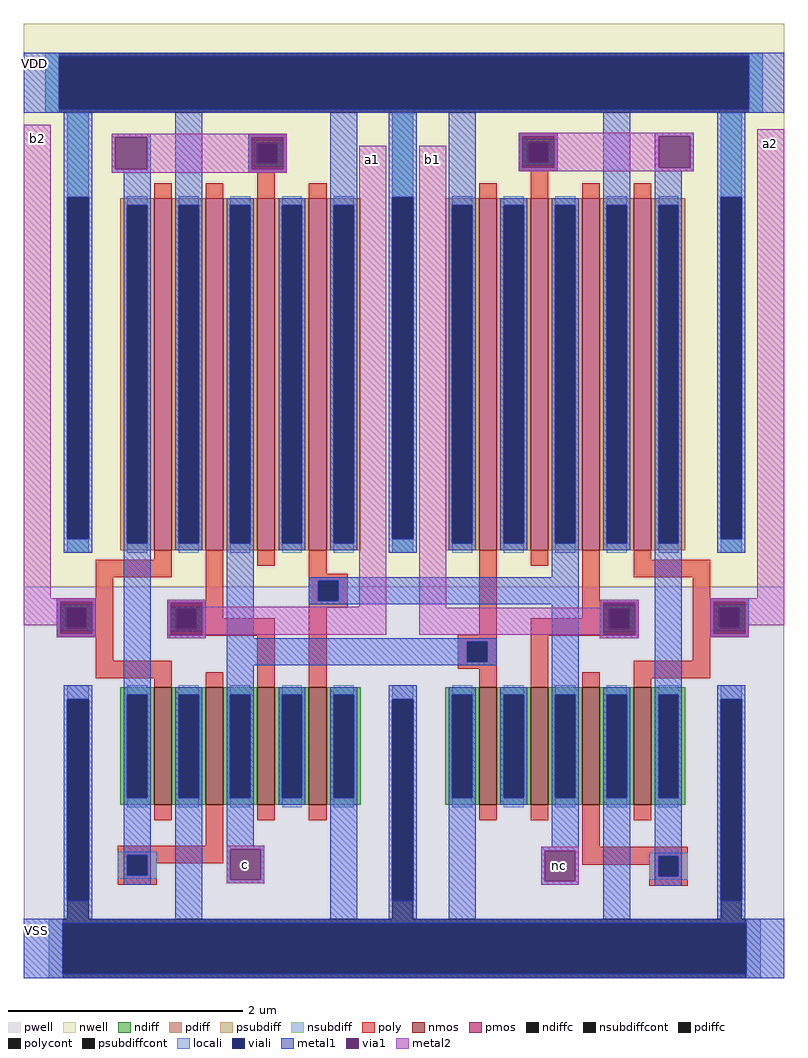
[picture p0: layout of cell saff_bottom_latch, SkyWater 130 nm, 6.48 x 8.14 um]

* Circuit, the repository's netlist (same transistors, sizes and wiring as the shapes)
** sch_path: /home/ttuser/Documents/tt09-analog-tdc/xschem/saff_bottom_latch.sch
.subckt saff_bottom_latch a1 a2 b1 b2 c nc VDD VSS
*.PININFO VDD:B a1:I c:O VSS:B b2:I nc:O a2:I b1:I
XM2 net5 c VSS VSS sky130_fd_pr__nfet_01v8 L=0.15 W=1 nf=1 m=1
XM12 net2 a2 VDD VDD sky130_fd_pr__pfet_01v8 L=0.15 W=3 nf=1 m=1
XM13 net2 a2 VSS VSS sky130_fd_pr__nfet_01v8 L=0.15 W=1 nf=1 m=1
XM14 net1 b2 VDD VDD sky130_fd_pr__pfet_01v8 L=0.15 W=3 nf=1 m=1
XM15 net1 b2 VSS VSS sky130_fd_pr__nfet_01v8 L=0.15 W=1 nf=1 m=1
XM16 c a1 VDD VDD sky130_fd_pr__pfet_01v8 L=0.15 W=3 nf=1 m=1
XM17 c net1 VSS VSS sky130_fd_pr__nfet_01v8 L=0.15 W=1 nf=1 m=1
XM18 nc b1 VDD VDD sky130_fd_pr__pfet_01v8 L=0.15 W=3 nf=1 m=1
XM19 nc net2 VSS VSS sky130_fd_pr__nfet_01v8 L=0.15 W=1 nf=1 m=1
XM20 net4 c VDD VDD sky130_fd_pr__pfet_01v8 L=0.15 W=3 nf=1 m=1
XM21 nc net2 net4 VDD sky130_fd_pr__pfet_01v8 L=0.15 W=3 nf=1 m=1
XM22 c net1 net3 VDD sky130_fd_pr__pfet_01v8 L=0.15 W=3 nf=1 m=1
XM23 net3 nc VDD VDD sky130_fd_pr__pfet_01v8 L=0.15 W=3 nf=1 m=1
XM24 c a1 net6 VSS sky130_fd_pr__nfet_01v8 L=0.15 W=1 nf=1 m=1
XM25 nc b1 net5 VSS sky130_fd_pr__nfet_01v8 L=0.15 W=1 nf=1 m=1
XM26 net6 nc VSS VSS sky130_fd_pr__nfet_01v8 L=0.15 W=1 nf=1 m=1
.ends
.end

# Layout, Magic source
magic
tech sky130A
magscale 1 2
<< nwell >>
rect 5844 -388 7140 -152
rect 5844 -1112 5990 -388
rect 6442 -1112 6660 -388
rect 6996 -1112 7140 -388
<< pwell >>
rect 5844 -1780 7140 -1112
<< psubdiff >>
rect 5918 -1304 5954 -1280
rect 6472 -1304 6508 -1280
rect 7032 -1304 7068 -1280
rect 5886 -1780 5910 -1678
rect 7076 -1780 7100 -1678
<< nsubdiff >>
rect 5880 -304 5904 -202
rect 7080 -304 7104 -202
rect 5918 -448 5954 -304
rect 5918 -1054 5954 -1030
rect 6472 -448 6508 -304
rect 6472 -1054 6508 -1030
rect 7032 -448 7068 -304
rect 7032 -1054 7068 -1030
<< psubdiffcont >>
rect 5918 -1678 5954 -1304
rect 6472 -1678 6508 -1304
rect 7032 -1678 7068 -1304
rect 5910 -1780 7076 -1678
<< nsubdiffcont >>
rect 5904 -304 7080 -202
rect 5918 -1030 5954 -448
rect 6472 -1030 6508 -448
rect 7032 -1030 7068 -448
<< poly >>
rect 6226 -356 6292 -340
rect 6226 -390 6242 -356
rect 6276 -390 6292 -356
rect 6226 -406 6292 -390
rect 6242 -426 6272 -406
rect 6688 -354 6754 -338
rect 6688 -388 6704 -354
rect 6738 -388 6754 -354
rect 6688 -404 6754 -388
rect 6708 -424 6738 -404
rect 5966 -1096 6096 -1066
rect 5966 -1132 5996 -1096
rect 5900 -1148 5996 -1132
rect 6154 -1138 6184 -1076
rect 5900 -1182 5916 -1148
rect 5950 -1182 5996 -1148
rect 5900 -1198 5996 -1182
rect 6088 -1150 6184 -1138
rect 6088 -1184 6104 -1150
rect 6138 -1166 6184 -1150
rect 6330 -1090 6360 -1076
rect 6330 -1102 6396 -1090
rect 6330 -1136 6346 -1102
rect 6380 -1136 6396 -1102
rect 6330 -1148 6396 -1136
rect 6138 -1184 6272 -1166
rect 6088 -1196 6272 -1184
rect 5966 -1238 5996 -1198
rect 5966 -1268 6096 -1238
rect 6242 -1258 6272 -1196
rect 6330 -1258 6360 -1148
rect 6620 -1194 6650 -1076
rect 6796 -1138 6826 -1076
rect 6884 -1096 7014 -1066
rect 6984 -1132 7014 -1096
rect 6796 -1150 6892 -1138
rect 6796 -1166 6842 -1150
rect 6584 -1206 6650 -1194
rect 6584 -1240 6600 -1206
rect 6634 -1240 6650 -1206
rect 6584 -1252 6650 -1240
rect 6620 -1260 6650 -1252
rect 6708 -1184 6842 -1166
rect 6876 -1184 6892 -1150
rect 6708 -1196 6892 -1184
rect 6984 -1148 7080 -1132
rect 6984 -1182 7030 -1148
rect 7064 -1182 7080 -1148
rect 6708 -1258 6738 -1196
rect 6984 -1198 7080 -1182
rect 6984 -1238 7014 -1198
rect 6884 -1268 7014 -1238
rect 6154 -1554 6184 -1508
rect 6004 -1570 6184 -1554
rect 6004 -1604 6020 -1570
rect 6054 -1584 6184 -1570
rect 6054 -1604 6070 -1584
rect 6004 -1620 6070 -1604
rect 6796 -1556 6826 -1510
rect 6796 -1572 6976 -1556
rect 6796 -1586 6926 -1572
rect 6910 -1606 6926 -1586
rect 6960 -1606 6976 -1572
rect 6910 -1622 6976 -1606
<< polycont >>
rect 6242 -390 6276 -356
rect 6704 -388 6738 -354
rect 5916 -1182 5950 -1148
rect 6104 -1184 6138 -1150
rect 6346 -1136 6380 -1102
rect 6600 -1240 6634 -1206
rect 6842 -1184 6876 -1150
rect 7030 -1182 7064 -1148
rect 6020 -1604 6054 -1570
rect 6926 -1606 6960 -1572
<< locali >>
rect 5880 -304 5904 -202
rect 7080 -304 7104 -202
rect 5918 -448 5954 -304
rect 6226 -356 6292 -350
rect 6226 -390 6242 -356
rect 6276 -390 6292 -356
rect 6226 -396 6292 -390
rect 5918 -1054 5954 -1030
rect 6472 -448 6508 -304
rect 6688 -354 6754 -348
rect 6688 -388 6704 -354
rect 6738 -388 6754 -354
rect 6688 -394 6754 -388
rect 6472 -1054 6508 -1030
rect 7032 -448 7068 -304
rect 7032 -1054 7068 -1030
rect 6330 -1102 6396 -1096
rect 6330 -1136 6346 -1102
rect 6380 -1136 6396 -1102
rect 6330 -1142 6396 -1136
rect 5900 -1148 5966 -1142
rect 5900 -1182 5916 -1148
rect 5950 -1182 5966 -1148
rect 5900 -1188 5966 -1182
rect 6088 -1150 6154 -1146
rect 6088 -1184 6104 -1150
rect 6138 -1184 6154 -1150
rect 6088 -1188 6154 -1184
rect 6826 -1150 6892 -1144
rect 6826 -1184 6842 -1150
rect 6876 -1184 6892 -1150
rect 6826 -1190 6892 -1184
rect 7014 -1148 7080 -1142
rect 7014 -1182 7030 -1148
rect 7064 -1182 7080 -1148
rect 7014 -1188 7080 -1182
rect 6584 -1206 6650 -1200
rect 6584 -1240 6600 -1206
rect 6634 -1240 6650 -1206
rect 6584 -1246 6650 -1240
rect 5918 -1304 5954 -1280
rect 6472 -1304 6508 -1280
rect 6004 -1570 6070 -1564
rect 6004 -1604 6020 -1570
rect 6054 -1604 6070 -1570
rect 6004 -1610 6070 -1604
rect 7032 -1304 7068 -1280
rect 6910 -1572 6976 -1566
rect 6910 -1606 6926 -1572
rect 6960 -1606 6976 -1572
rect 6910 -1612 6976 -1606
rect 5886 -1780 5910 -1678
rect 7076 -1780 7100 -1678
<< viali >>
rect 5904 -298 7080 -208
rect 6242 -390 6276 -356
rect 5918 -1030 5954 -448
rect 6704 -388 6738 -354
rect 6472 -1030 6508 -448
rect 7032 -1030 7068 -448
rect 6346 -1136 6380 -1102
rect 5916 -1182 5950 -1148
rect 6104 -1184 6138 -1150
rect 6842 -1184 6876 -1150
rect 7030 -1182 7064 -1148
rect 6600 -1240 6634 -1206
rect 5918 -1648 5954 -1304
rect 6020 -1604 6054 -1570
rect 6472 -1648 6508 -1304
rect 6926 -1606 6960 -1572
rect 7032 -1648 7068 -1304
rect 5910 -1772 7076 -1686
<< metal1 >>
rect 5844 -208 7140 -202
rect 5844 -298 5904 -208
rect 7080 -298 7140 -208
rect 5844 -304 7140 -298
rect 5912 -448 5960 -304
rect 5994 -346 6060 -340
rect 5994 -400 6000 -346
rect 6054 -400 6060 -346
rect 5994 -406 6060 -400
rect 5912 -1030 5918 -448
rect 5954 -1030 5960 -448
rect 6014 -450 6060 -406
rect 6102 -450 6148 -304
rect 6226 -346 6292 -340
rect 6226 -400 6232 -346
rect 6286 -400 6292 -346
rect 6226 -406 6292 -400
rect 6366 -450 6412 -304
rect 6466 -448 6514 -304
rect 5912 -1054 5960 -1030
rect 6466 -1030 6472 -448
rect 6508 -1030 6514 -448
rect 6568 -450 6614 -304
rect 6688 -344 6754 -338
rect 6688 -398 6694 -344
rect 6748 -398 6754 -344
rect 6688 -404 6754 -398
rect 6832 -450 6878 -304
rect 6920 -344 6986 -338
rect 6920 -398 6926 -344
rect 6980 -398 6986 -344
rect 6920 -404 6986 -398
rect 6920 -450 6966 -404
rect 7026 -448 7074 -304
rect 5900 -1138 5966 -1132
rect 5900 -1192 5906 -1138
rect 5960 -1192 5966 -1138
rect 5900 -1198 5966 -1192
rect 5912 -1304 5960 -1280
rect 6014 -1284 6060 -1050
rect 6088 -1140 6154 -1134
rect 6088 -1194 6094 -1140
rect 6148 -1194 6154 -1140
rect 6088 -1200 6154 -1194
rect 6190 -1200 6236 -1050
rect 6466 -1054 6514 -1030
rect 7026 -1030 7032 -448
rect 7068 -1030 7074 -448
rect 6744 -1096 6790 -1050
rect 6330 -1102 6790 -1096
rect 6330 -1136 6346 -1102
rect 6380 -1136 6790 -1102
rect 6330 -1142 6790 -1136
rect 6190 -1206 6650 -1200
rect 6190 -1240 6600 -1206
rect 6634 -1240 6650 -1206
rect 6190 -1246 6650 -1240
rect 6190 -1284 6236 -1246
rect 5912 -1648 5918 -1304
rect 5954 -1648 5960 -1304
rect 6466 -1304 6514 -1280
rect 6744 -1284 6790 -1142
rect 6826 -1140 6892 -1134
rect 6826 -1194 6832 -1140
rect 6886 -1194 6892 -1140
rect 6826 -1200 6892 -1194
rect 6920 -1284 6966 -1050
rect 7026 -1054 7074 -1030
rect 7014 -1138 7080 -1132
rect 7014 -1192 7020 -1138
rect 7074 -1192 7080 -1138
rect 7014 -1198 7080 -1192
rect 6014 -1570 6060 -1484
rect 6014 -1604 6020 -1570
rect 6054 -1604 6060 -1570
rect 6014 -1620 6060 -1604
rect 5912 -1678 5960 -1648
rect 6102 -1678 6148 -1484
rect 6190 -1554 6236 -1484
rect 6190 -1560 6254 -1554
rect 6190 -1612 6196 -1560
rect 6248 -1612 6254 -1560
rect 6190 -1618 6254 -1612
rect 6366 -1678 6412 -1484
rect 6466 -1648 6472 -1304
rect 6508 -1648 6514 -1304
rect 7026 -1304 7074 -1280
rect 6466 -1678 6514 -1648
rect 6568 -1678 6614 -1484
rect 6744 -1556 6790 -1484
rect 6726 -1562 6790 -1556
rect 6726 -1614 6732 -1562
rect 6784 -1614 6790 -1562
rect 6726 -1620 6790 -1614
rect 6832 -1678 6878 -1484
rect 6920 -1572 6966 -1484
rect 6920 -1606 6926 -1572
rect 6960 -1606 6966 -1572
rect 6920 -1622 6966 -1606
rect 7026 -1648 7032 -1304
rect 7068 -1648 7074 -1304
rect 7026 -1678 7074 -1648
rect 5844 -1686 7140 -1678
rect 5844 -1772 5910 -1686
rect 7076 -1772 7140 -1686
rect 5844 -1780 7140 -1772
<< via1 >>
rect 6000 -400 6054 -346
rect 6232 -356 6286 -346
rect 6232 -390 6242 -356
rect 6242 -390 6276 -356
rect 6276 -390 6286 -356
rect 6232 -400 6286 -390
rect 6694 -354 6748 -344
rect 6694 -388 6704 -354
rect 6704 -388 6738 -354
rect 6738 -388 6748 -354
rect 6694 -398 6748 -388
rect 6926 -398 6980 -344
rect 5906 -1148 5960 -1138
rect 5906 -1182 5916 -1148
rect 5916 -1182 5950 -1148
rect 5950 -1182 5960 -1148
rect 5906 -1192 5960 -1182
rect 6094 -1150 6148 -1140
rect 6094 -1184 6104 -1150
rect 6104 -1184 6138 -1150
rect 6138 -1184 6148 -1150
rect 6094 -1194 6148 -1184
rect 6832 -1150 6886 -1140
rect 6832 -1184 6842 -1150
rect 6842 -1184 6876 -1150
rect 6876 -1184 6886 -1150
rect 6832 -1194 6886 -1184
rect 7020 -1148 7074 -1138
rect 7020 -1182 7030 -1148
rect 7030 -1182 7064 -1148
rect 7064 -1182 7074 -1148
rect 7020 -1192 7074 -1182
rect 6196 -1612 6248 -1560
rect 6732 -1614 6784 -1562
<< metal2 >>
rect 5844 -1132 5890 -324
rect 5994 -346 6292 -340
rect 5994 -400 6000 -346
rect 6054 -400 6232 -346
rect 6286 -400 6292 -346
rect 6688 -344 6986 -338
rect 5994 -406 6292 -400
rect 5844 -1138 5966 -1132
rect 5844 -1178 5906 -1138
rect 5900 -1192 5906 -1178
rect 5960 -1192 5966 -1138
rect 5900 -1198 5966 -1192
rect 6088 -1140 6154 -1134
rect 6088 -1194 6094 -1140
rect 6148 -1146 6154 -1140
rect 6416 -1146 6462 -360
rect 6148 -1194 6462 -1146
rect 6518 -1148 6564 -360
rect 6688 -398 6694 -344
rect 6748 -398 6926 -344
rect 6980 -398 6986 -344
rect 6688 -404 6986 -398
rect 7094 -1132 7140 -332
rect 6826 -1140 6892 -1134
rect 6826 -1148 6832 -1140
rect 6518 -1194 6832 -1148
rect 6886 -1194 6892 -1140
rect 6088 -1200 6154 -1194
rect 6826 -1200 6892 -1194
rect 7014 -1138 7140 -1132
rect 7014 -1192 7020 -1138
rect 7074 -1178 7140 -1138
rect 7074 -1192 7080 -1178
rect 7014 -1198 7080 -1192
rect 6190 -1560 6254 -1554
rect 6190 -1612 6196 -1560
rect 6248 -1612 6254 -1560
rect 6190 -1618 6254 -1612
rect 6726 -1562 6790 -1556
rect 6726 -1614 6732 -1562
rect 6784 -1614 6790 -1562
rect 6726 -1620 6790 -1614
use sky130_fd_pr__nfet_01v8_6H9P4D  sky130_fd_pr__nfet_01v8_6H9P4D_0
transform 1 0 6081 0 1 -1384
box -73 -126 73 126
use sky130_fd_pr__nfet_01v8_6H9P4D  sky130_fd_pr__nfet_01v8_6H9P4D_1
transform 1 0 6169 0 1 -1384
box -73 -126 73 126
use sky130_fd_pr__nfet_01v8_6H9P4D  sky130_fd_pr__nfet_01v8_6H9P4D_2
transform 1 0 6257 0 1 -1384
box -73 -126 73 126
use sky130_fd_pr__nfet_01v8_6H9P4D  sky130_fd_pr__nfet_01v8_6H9P4D_3
transform 1 0 6345 0 1 -1384
box -73 -126 73 126
use sky130_fd_pr__nfet_01v8_6H9P4D  sky130_fd_pr__nfet_01v8_6H9P4D_4
transform 1 0 6635 0 1 -1384
box -73 -126 73 126
use sky130_fd_pr__nfet_01v8_6H9P4D  sky130_fd_pr__nfet_01v8_6H9P4D_5
transform 1 0 6723 0 1 -1384
box -73 -126 73 126
use sky130_fd_pr__nfet_01v8_6H9P4D  sky130_fd_pr__nfet_01v8_6H9P4D_6
transform 1 0 6811 0 1 -1384
box -73 -126 73 126
use sky130_fd_pr__nfet_01v8_6H9P4D  sky130_fd_pr__nfet_01v8_6H9P4D_7
transform 1 0 6899 0 1 -1384
box -73 -126 73 126
use sky130_fd_pr__pfet_01v8_2K9SAN  sky130_fd_pr__pfet_01v8_2K9SAN_0
transform 1 0 6081 0 1 -750
box -109 -362 109 362
use sky130_fd_pr__pfet_01v8_2K9SAN  sky130_fd_pr__pfet_01v8_2K9SAN_1
transform 1 0 6169 0 1 -750
box -109 -362 109 362
use sky130_fd_pr__pfet_01v8_2K9SAN  sky130_fd_pr__pfet_01v8_2K9SAN_2
transform 1 0 6257 0 1 -750
box -109 -362 109 362
use sky130_fd_pr__pfet_01v8_2K9SAN  sky130_fd_pr__pfet_01v8_2K9SAN_3
transform 1 0 6345 0 1 -750
box -109 -362 109 362
use sky130_fd_pr__pfet_01v8_2K9SAN  sky130_fd_pr__pfet_01v8_2K9SAN_4
transform 1 0 6635 0 1 -750
box -109 -362 109 362
use sky130_fd_pr__pfet_01v8_2K9SAN  sky130_fd_pr__pfet_01v8_2K9SAN_5
transform 1 0 6723 0 1 -750
box -109 -362 109 362
use sky130_fd_pr__pfet_01v8_2K9SAN  sky130_fd_pr__pfet_01v8_2K9SAN_6
transform 1 0 6811 0 1 -750
box -109 -362 109 362
use sky130_fd_pr__pfet_01v8_2K9SAN  sky130_fd_pr__pfet_01v8_2K9SAN_7
transform 1 0 6899 0 1 -750
box -109 -362 109 362
<< labels >>
rlabel metal2 6416 -408 6462 -360 0 a1
port 1 nsew
rlabel metal2 6518 -408 6564 -360 0 b1
port 3 nsew
rlabel metal2 6190 -1618 6254 -1554 0 c
port 5 nsew
rlabel metal2 6726 -1620 6790 -1556 0 nc
port 6 nsew
rlabel metal1 5844 -238 5880 -202 0 VDD
port 7 nsew
rlabel metal1 5844 -1720 5886 -1678 0 VSS
port 8 nsew
rlabel metal2 7094 -380 7140 -332 0 a2
port 2 nsew
rlabel metal2 5844 -372 5890 -324 0 b2
port 4 nsew
<< end >>

# cell sky130_fd_pr__nfet_01v8_6H9P4D: kit device sky130_fd_pr__nfet_01v8, w 1 l 0.150 m 1 nf 1 diffcov 100 polycov 100 guard 0 glc 1 grc 1 gtc 1 gbc 1 tbcov 100 rlcov 100 topc 0 botc 0 poverlap 0 doverlap 1 lmin 0.15 wmin 0.42 compatible {sky130_fd_pr__nfet_01v8 sky130_fd_pr__nfet_01v8_lvt sky130_fd_bs_flash__special_sonosfet_star sky130_fd_pr__nfet_g5v0d10v5 sky130_fd_pr__nfet_05v0_nvt sky130_fd_pr__nfet_03v3_nvt} full_metal 1 viasrc 100 viadrn 100 viagate 100 viagb 0 viagr 0 viagl 0 viagt 0

# cell sky130_fd_pr__pfet_01v8_2K9SAN: kit device sky130_fd_pr__pfet_01v8, w 3 l 0.15 m 1 nf 1 diffcov 100 polycov 100 guard 0 glc 1 grc 1 gtc 1 gbc 1 tbcov 100 rlcov 100 topc 0 botc 0 poverlap 0 doverlap 1 lmin 0.15 wmin 0.42 compatible {sky130_fd_pr__pfet_01v8 sky130_fd_pr__pfet_01v8_lvt sky130_fd_pr__pfet_01v8_hvt sky130_fd_pr__pfet_g5v0d10v5} full_metal 1 viasrc 100 viadrn 100 viagate 100 viagb 0 viagr 0 viagl 0 viagt 0
